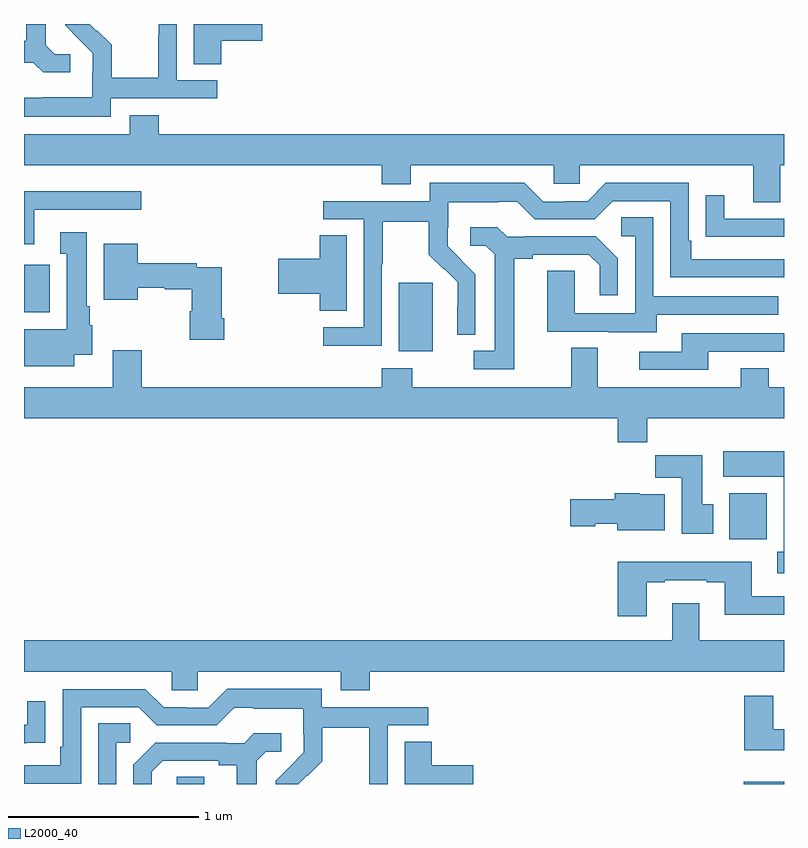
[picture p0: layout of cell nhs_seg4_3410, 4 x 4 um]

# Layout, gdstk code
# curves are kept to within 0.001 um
import gdstk
lib = gdstk.Library(unit=1e-6, precision=1e-09)
def R(c, l, rs):  # rectangles x0, y0, x1, y1
    for r in rs: c.add(gdstk.rectangle(r[:2], r[2:], *l))
def P(c, l, *ps):  # polygons
    for p in ps: c.add(gdstk.Polygon(p, *l))
L2000_40 = (2000, 40)

nhs_seg4_3410 = lib.new_cell('nhs_seg4_3410')
R(nhs_seg4_3410, L2000_40, [(291.804,790.9,291.949,790.937), (294.788,790.9,295,790.912), (294.713,792.188,294.91,792.43), (292.973,793.178,293.152,793.539), (291,793.382,291.135,793.633)])
P(nhs_seg4_3410, L2000_40, [(291.244,794.742),(291.162,794.742),(291.115,794.789),(291.115,794.9),(291.011,794.9),(291.011,794.813),(291,794.813),(291,794.697),(291.048,794.697),(291.1,794.645),(291.244,794.645)],
  [(292.037,794.813),(292.255,794.813),(292.255,794.9),(291.893,794.9),(291.893,794.689),(292.037,794.689)],
  [(291.456,794.508),(292.018,794.508),(292.018,794.604),(291.804,794.604),(291.804,794.9),(291.708,794.9),(291.708,794.84),(291.706,794.84),(291.706,794.617),(291.461,794.617),(291.461,794.791),(291.384,794.868),(291.381,794.865),(291.346,794.9),(291.216,794.9),(291.216,794.894),(291.362,794.746),(291.362,794.649),(291.36,794.649),(291.36,794.515),(291.097,794.515),(291.097,794.511),(291,794.511),(291,794.411),(291.456,794.411)],
  [(291.71,794.419),(291.557,794.419),(291.557,794.32),(291,794.32),(291,794.156),(292.883,794.156),(292.883,794.057),(293.035,794.057),(293.035,794.156),(293.787,794.156),(293.787,794.058),(293.925,794.058),(293.925,794.156),(294.839,794.156),(294.839,793.962),(294.979,793.962),(294.979,794.156),(295,794.156),(295,794.32),(291.71,794.32)],
  [(292.884,793.636),(292.887,793.636),(292.887,793.86),(293.131,793.86),(293.131,793.685),(293.208,793.608),(293.211,793.611),(293.282,793.541),(293.282,793.418),(293.28,793.418),(293.28,793.264),(293.376,793.264),(293.376,793.582),(293.23,793.73),(293.23,793.827),(293.232,793.827),(293.232,793.961),(293.495,793.961),(293.495,793.965),(293.595,793.965),(293.688,793.872),(294.003,793.872),(294.099,793.968),(294.402,793.968),(294.402,793.566),(295,793.566),(295,793.662),(294.511,793.662),(294.511,793.759),(294.498,793.759),(294.498,794.064),(294.063,794.064),(293.967,793.968),(293.849,793.968),(293.849,793.965),(293.733,793.965),(293.633,794.065),(293.136,794.065),(293.136,793.968),(292.575,793.968),(292.575,793.872),(292.788,793.872),(292.788,793.305),(292.575,793.305),(292.575,793.207),(292.884,793.207)],
  [(291.055,793.923),(291.616,793.923),(291.616,794.02),(291,794.02),(291,793.742),(291.055,793.742)],
  [(295,793.875),(294.685,793.875),(294.685,793.999),(294.589,793.999),(294.589,793.78),(294.691,793.78),(294.691,793.779),(295,793.779)],
  [(294.331,793.371),(294.971,793.371),(294.971,793.467),(294.312,793.467),(294.312,793.883),(294.144,793.883),(294.144,793.782),(294.216,793.782),(294.216,793.377),(293.898,793.377),(293.898,793.601),(293.753,793.601),(293.753,793.281),(294.077,793.281),(294.077,793.277),(294.331,793.277)],
  [(293.581,793.664),(293.677,793.664),(293.677,793.686),(293.972,793.686),(294.029,793.629),(294.029,793.473),(294.126,793.473),(294.126,793.666),(294.01,793.782),(293.638,793.782),(293.638,793.779),(293.544,793.779),(293.492,793.831),(293.349,793.831),(293.349,793.734),(293.43,793.734),(293.477,793.687),(293.477,793.179),(293.367,793.179),(293.367,793.083),(293.581,793.083)],
  [(291.265,793.16),(291.358,793.16),(291.358,793.314),(291.346,793.314),(291.346,793.414),(291.331,793.414),(291.331,793.804),(291.191,793.804),(291.191,793.691),(291.224,793.691),(291.224,793.294),(291,793.294),(291,793.1),(291.265,793.1)],
  [(292.699,793.787),(292.556,793.787),(292.556,793.664),(292.338,793.664),(292.338,793.481),(292.556,793.481),(292.556,793.39),(292.699,793.39)],
  [(292.055,793.351),(292.042,793.351),(292.042,793.62),(291.908,793.62),(291.908,793.64),(291.598,793.64),(291.598,793.744),(291.419,793.744),(291.419,793.448),(291.598,793.448),(291.598,793.512),(291.741,793.512),(291.741,793.504),(291.884,793.504),(291.884,793.389),(291.872,793.389),(291.872,793.239),(292.055,793.239)],
  [(294.601,793.176),(295,793.176),(295,793.272),(294.461,793.272),(294.461,793.176),(294.237,793.176),(294.237,793.08),(294.601,793.08)],
  [(294.281,792.824),(295,792.824),(295,792.988),(294.921,792.988),(294.921,793.087),(294.773,793.087),(294.773,792.988),(294.019,792.988),(294.019,793.196),(293.879,793.196),(293.879,792.988),(293.043,792.988),(293.043,793.087),(292.883,793.087),(292.883,792.988),(291.62,792.988),(291.62,793.183),(291.467,793.183),(291.467,792.988),(291,792.988),(291,792.824),(294.125,792.824),(294.125,792.7),(294.281,792.7)],
  [(295,792.652),(294.681,792.652),(294.681,792.518),(294.998,792.518),(294.998,792.122),(294.965,792.122),(294.965,792.009),(295,792.009)],
  [(294.628,792.372),(294.571,792.372),(294.571,792.631),(294.322,792.631),(294.322,792.512),(294.461,792.512),(294.461,792.216),(294.628,792.216)],
  [(294.373,792.424),(294.24,792.424),(294.24,792.43),(294.11,792.43),(294.11,792.399),(293.874,792.399),(293.874,792.257),(294.006,792.257),(294.006,792.269),(294.122,792.269),(294.122,792.236),(294.373,792.236)],
  [(294.277,791.961),(294.373,791.961),(294.373,791.973),(294.593,791.973),(294.593,791.961),(294.689,791.961),(294.689,791.792),(295,791.792),(295,791.889),(294.829,791.889),(294.829,792.07),(294.125,792.07),(294.125,791.784),(294.277,791.784)],
  [(292.82,791.492),(295,791.492),(295,791.656),(294.553,791.656),(294.553,791.851),(294.413,791.851),(294.413,791.656),(291,791.656),(291,791.492),(291.777,791.492),(291.777,791.394),(291.915,791.394),(291.915,791.492),(292.667,791.492),(292.667,791.393),(292.82,791.393)],
  [(292.491,790.947),(292.494,790.944),(292.571,791.021),(292.571,791.196),(292.816,791.196),(292.816,790.972),(292.818,790.972),(292.818,790.9),(292.914,790.9),(292.914,791.208),(293.128,791.208),(293.128,791.304),(292.566,791.304),(292.566,791.401),(292.069,791.401),(291.969,791.301),(291.854,791.301),(291.854,791.304),(291.735,791.304),(291.639,791.4),(291.204,791.4),(291.204,791.095),(291.191,791.095),(291.191,790.998),(291,790.998),(291,790.902),(291.3,790.902),(291.3,791.304),(291.603,791.304),(291.699,791.208),(292.014,791.208),(292.107,791.301),(292.207,791.301),(292.207,791.297),(292.47,791.297),(292.47,791.163),(292.472,791.163),(292.472,791.066),(292.326,790.918),(292.326,790.9),(292.444,790.9)],
  [(295,791.188),(294.943,791.188),(294.943,791.365),(294.791,791.365),(294.791,791.078),(295,791.078)],
  [(291.011,791.116),(291.113,791.116),(291.113,791.335),(291.017,791.335),(291.017,791.211),(291,791.211),(291,791.115),(291.011,791.115)],
  [(291.486,791.118),(291.559,791.118),(291.559,791.219),(291.39,791.219),(291.39,790.9),(291.486,790.9)],
  [(291.673,790.965),(291.73,791.022),(292.025,791.022),(292.025,791),(292.121,791),(292.121,790.9),(292.225,790.9),(292.225,791.023),(292.272,791.07),(292.354,791.07),(292.354,791.167),(292.21,791.167),(292.158,791.115),(292.064,791.115),(292.064,791.118),(291.692,791.118),(291.576,791.002),(291.576,790.9),(291.673,790.9)],
  [(293.365,791),(293.147,791),(293.147,791.123),(293.003,791.123),(293.003,790.9),(293.365,790.9)])

lib.write_gds('nhs_seg4_3410.gds')
